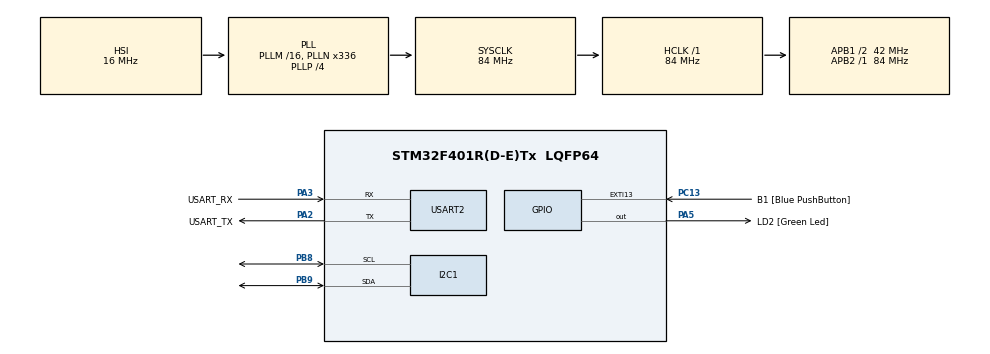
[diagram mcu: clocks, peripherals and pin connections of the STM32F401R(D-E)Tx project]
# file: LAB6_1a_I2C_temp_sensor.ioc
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Dma.Request0=USART2_TX
Dma.USART2_TX.0.Direction=DMA_MEMORY_TO_PERIPH
Dma.USART2_TX.0.FIFOMode=DMA_FIFOMODE_DISABLE
Dma.USART2_TX.0.Instance=DMA1_Stream6
Dma.USART2_TX.0.MemDataAlignment=DMA_MDATAALIGN_BYTE
Dma.USART2_TX.0.MemInc=DMA_MINC_ENABLE
Dma.USART2_TX.0.Mode=DMA_NORMAL
Dma.USART2_TX.0.PeriphDataAlignment=DMA_PDATAALIGN_BYTE
Dma.USART2_TX.0.PeriphInc=DMA_PINC_DISABLE
Dma.USART2_TX.0.Priority=DMA_PRIORITY_LOW
Mcu.Family=STM32F4
Mcu.Name=STM32F401R(D-E)Tx
Mcu.Package=LQFP64
NVIC.DMA1_Stream6_IRQn=true\:0\:0\:false\:false\:true\:false\:true\:true
NVIC.PriorityGroup=NVIC_PRIORITYGROUP_0
NVIC.USART2_IRQn=true\:0\:0\:false\:false\:true\:true\:true\:true
PA13.GPIO_Label=TMS
PA13.Mode=Serial_Wire
PA13.Signal=SYS_JTMS-SWDIO
PA14.GPIO_Label=TCK
PA14.Mode=Serial_Wire
PA14.Signal=SYS_JTCK-SWCLK
PA2.GPIO_Label=USART_TX
PA2.GPIO_Mode=GPIO_MODE_AF_PP
PA2.GPIO_PuPd=GPIO_NOPULL
PA2.GPIO_Speed=GPIO_SPEED_FREQ_LOW
PA2.Mode=Asynchronous
PA2.Signal=USART2_TX
PA3.GPIO_Label=USART_RX
PA3.GPIO_Mode=GPIO_MODE_AF_PP
PA3.GPIO_PuPd=GPIO_NOPULL
PA3.GPIO_Speed=GPIO_SPEED_FREQ_LOW
PA3.Mode=Asynchronous
PA3.Signal=USART2_RX
PA5.GPIO_Label=LD2 [Green Led]
PA5.GPIO_Mode=GPIO_MODE_OUTPUT_PP
PA5.GPIO_PuPd=GPIO_NOPULL
PA5.GPIO_Speed=GPIO_SPEED_FREQ_LOW
PA5.Signal=GPIO_Output
PB3.GPIO_Label=SWO
PB3.Signal=SYS_JTDO-SWO
PB8.Mode=I2C
PB8.Signal=I2C1_SCL
PB9.Mode=I2C
PB9.Signal=I2C1_SDA
PC13-ANTI_TAMP.GPIO_Label=B1 [Blue PushButton]
PC13-ANTI_TAMP.GPIO_ModeDefaultEXTI=GPIO_MODE_IT_FALLING
PC13-ANTI_TAMP.GPIO_PuPd=GPIO_NOPULL
PC13-ANTI_TAMP.Signal=GPXTI13
PC14-OSC32_IN.Mode=LSE-External-Oscillator
PC14-OSC32_IN.Signal=RCC_OSC32_IN
PC15-OSC32_OUT.Mode=LSE-External-Oscillator
PC15-OSC32_OUT.Signal=RCC_OSC32_OUT
PH0\ -\ OSC_IN.Mode=HSE-External-Clock-Source
PH0\ -\ OSC_IN.Signal=RCC_OSC_IN
PH1\ -\ OSC_OUT.Mode=HSE-External-Clock-Source
PH1\ -\ OSC_OUT.Signal=RCC_OSC_OUT
ProjectManager.HeapSize=0x200
ProjectManager.StackSize=0x400
ProjectManager.TargetToolchain=STM32CubeIDE
RCC.48MHZClocksFreq_Value=48000000
RCC.AHBFreq_Value=84000000
RCC.APB1CLKDivider=RCC_HCLK_DIV2
RCC.APB1Freq_Value=42000000
RCC.APB1TimFreq_Value=84000000
RCC.APB2Freq_Value=84000000
RCC.APB2TimFreq_Value=84000000
RCC.CortexFreq_Value=84000000
RCC.HCLKFreq_Value=84000000
RCC.HSE_VALUE=8000000
RCC.HSI_VALUE=16000000
RCC.PLLN=336
RCC.PLLP=RCC_PLLP_DIV4
RCC.PLLQ=7
RCC.SYSCLKFreq_VALUE=84000000
RCC.SYSCLKSource=RCC_SYSCLKSOURCE_PLLCLK
RCC.VCOOutputFreq_Value=336000000
USART2.VirtualMode=VM_ASYNC
board=NUCLEO-F401RE

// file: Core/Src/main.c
/* USER CODE BEGIN Header */
/**
  ******************************************************************************
  * @file           : main.c
  * @brief          : Main program body
  ******************************************************************************
  * @attention
  *
  * Copyright (c) 2024 STMicroelectronics.
  * All rights reserved.
  *
  * This software is licensed under terms that can be found in the LICENSE file
  * in the root directory of this software component.
  * If no LICENSE file comes with this software, it is provided AS-IS.
  *
  ******************************************************************************
  */
/* USER CODE END Header */
#include "main.h"

/* USER CODE BEGIN Includes */
#include <stdio.h>
/* USER CODE END Includes */

/* USER CODE BEGIN PD */
#define NO_DATA 			0
#define ONE_BYTE			1
#define TRANSMIT_DELAY		100
#define SIZE_STRING			100
#define ONE_SECOND			1000
/* USER CODE END PD */

I2C_HandleTypeDef hi2c1;

UART_HandleTypeDef huart2;
DMA_HandleTypeDef hdma_usart2_tx;

void SystemClock_Config(void);
static void MX_GPIO_Init(void);
static void MX_DMA_Init(void);
static void MX_USART2_UART_Init(void);
static void MX_I2C1_Init(void);

int main(void)
{

  /* MCU Configuration--------------------------------------------------------*/

  /* Reset of all peripherals, Initializes the Flash interface and the Systick. */
  HAL_Init();

  /* Configure the system clock */
  SystemClock_Config();

  /* Initialize all configured peripherals */
  MX_GPIO_Init();
  MX_DMA_Init();
  MX_USART2_UART_Init();
  MX_I2C1_Init();
  /* USER CODE BEGIN 2 */

  uint8_t LM75_ADDR = 0b10010000;			// Address left-shifted by one
  uint8_t LM75_TEMP_ADDR = 0x00;			// Address of the pointer register

  // LM75 initialization -> set up pointer register to temperature sensor
  HAL_I2C_Master_Transmit(&hi2c1, LM75_ADDR , &LM75_TEMP_ADDR, ONE_BYTE, TRANSMIT_DELAY);

  /* USER CODE END 2 */

  /* Infinite loop */
  /* USER CODE BEGIN WHILE */
  while (1)
  {
	  uint8_t temperature;
	  int message_length = 0;
	  char message[SIZE_STRING];
	  if(HAL_I2C_Master_Receive(&hi2c1, LM75_ADDR+1, &temperature, ONE_BYTE, TRANSMIT_DELAY) == HAL_OK)
	  {
		  message_length = snprintf(message, SIZE_STRING, "T: %d°C\r\n", temperature);
	  }
	  else
	  {
		  message_length = snprintf(message, SIZE_STRING, "Error reading from LM75\r\n");
	  }
	  HAL_UART_Transmit_DMA(&huart2, (uint8_t *)message, message_length);
	  HAL_Delay(ONE_SECOND);
    /* USER CODE END WHILE */

  }
}

void SystemClock_Config(void)
{
  RCC_OscInitTypeDef RCC_OscInitStruct = {0};
  RCC_ClkInitTypeDef RCC_ClkInitStruct = {0};

  /** Configure the main internal regulator output voltage
  */
  __HAL_RCC_PWR_CLK_ENABLE();
  __HAL_PWR_VOLTAGESCALING_CONFIG(PWR_REGULATOR_VOLTAGE_SCALE2);

  /** Initializes the RCC Oscillators according to the specified parameters
  * in the RCC_OscInitTypeDef structure.
  */
  RCC_OscInitStruct.OscillatorType = RCC_OSCILLATORTYPE_HSI;
  RCC_OscInitStruct.HSIState = RCC_HSI_ON;
  RCC_OscInitStruct.HSICalibrationValue = RCC_HSICALIBRATION_DEFAULT;
  RCC_OscInitStruct.PLL.PLLState = RCC_PLL_ON;
  RCC_OscInitStruct.PLL.PLLSource = RCC_PLLSOURCE_HSI;
  RCC_OscInitStruct.PLL.PLLM = 16;
  RCC_OscInitStruct.PLL.PLLN = 336;
  RCC_OscInitStruct.PLL.PLLP = RCC_PLLP_DIV4;
  RCC_OscInitStruct.PLL.PLLQ = 7;
  if (HAL_RCC_OscConfig(&RCC_OscInitStruct) != HAL_OK)
  {
    Error_Handler();
  }

  /** Initializes the CPU, AHB and APB buses clocks
  */
  RCC_ClkInitStruct.ClockType = RCC_CLOCKTYPE_HCLK|RCC_CLOCKTYPE_SYSCLK
                              |RCC_CLOCKTYPE_PCLK1|RCC_CLOCKTYPE_PCLK2;
  RCC_ClkInitStruct.SYSCLKSource = RCC_SYSCLKSOURCE_PLLCLK;
  RCC_ClkInitStruct.AHBCLKDivider = RCC_SYSCLK_DIV1;
  RCC_ClkInitStruct.APB1CLKDivider = RCC_HCLK_DIV2;
  RCC_ClkInitStruct.APB2CLKDivider = RCC_HCLK_DIV1;

  if (HAL_RCC_ClockConfig(&RCC_ClkInitStruct, FLASH_LATENCY_2) != HAL_OK)
  {
    Error_Handler();
  }
}

static void MX_I2C1_Init(void)
{

  hi2c1.Instance = I2C1;
  hi2c1.Init.ClockSpeed = 100000;
  hi2c1.Init.DutyCycle = I2C_DUTYCYCLE_2;
  hi2c1.Init.OwnAddress1 = 0;
  hi2c1.Init.AddressingMode = I2C_ADDRESSINGMODE_7BIT;
  hi2c1.Init.DualAddressMode = I2C_DUALADDRESS_DISABLE;
  hi2c1.Init.OwnAddress2 = 0;
  hi2c1.Init.GeneralCallMode = I2C_GENERALCALL_DISABLE;
  hi2c1.Init.NoStretchMode = I2C_NOSTRETCH_DISABLE;
  if (HAL_I2C_Init(&hi2c1) != HAL_OK)
  {
    Error_Handler();
  }

}

static void MX_USART2_UART_Init(void)
{

  huart2.Instance = USART2;
  huart2.Init.BaudRate = 115200;
  huart2.Init.WordLength = UART_WORDLENGTH_8B;
  huart2.Init.StopBits = UART_STOPBITS_1;
  huart2.Init.Parity = UART_PARITY_NONE;
  huart2.Init.Mode = UART_MODE_TX_RX;
  huart2.Init.HwFlowCtl = UART_HWCONTROL_NONE;
  huart2.Init.OverSampling = UART_OVERSAMPLING_16;
  if (HAL_UART_Init(&huart2) != HAL_OK)
  {
    Error_Handler();
  }

}

static void MX_DMA_Init(void)
{

  /* DMA controller clock enable */
  __HAL_RCC_DMA1_CLK_ENABLE();

  /* DMA interrupt init */
  /* DMA1_Stream6_IRQn interrupt configuration */
  HAL_NVIC_SetPriority(DMA1_Stream6_IRQn, 0, 0);
  HAL_NVIC_EnableIRQ(DMA1_Stream6_IRQn);

}

static void MX_GPIO_Init(void)
{
  GPIO_InitTypeDef GPIO_InitStruct = {0};

  /* GPIO Ports Clock Enable */
  __HAL_RCC_GPIOC_CLK_ENABLE();
  __HAL_RCC_GPIOH_CLK_ENABLE();
  __HAL_RCC_GPIOA_CLK_ENABLE();
  __HAL_RCC_GPIOB_CLK_ENABLE();

  /*Configure GPIO pin Output Level */
  HAL_GPIO_WritePin(LD2_GPIO_Port, LD2_Pin, GPIO_PIN_RESET);

  /*Configure GPIO pin : B1_Pin */
  GPIO_InitStruct.Pin = B1_Pin;
  GPIO_InitStruct.Mode = GPIO_MODE_IT_FALLING;
  GPIO_InitStruct.Pull = GPIO_NOPULL;
  HAL_GPIO_Init(B1_GPIO_Port, &GPIO_InitStruct);

  /*Configure GPIO pin : LD2_Pin */
  GPIO_InitStruct.Pin = LD2_Pin;
  GPIO_InitStruct.Mode = GPIO_MODE_OUTPUT_PP;
  GPIO_InitStruct.Pull = GPIO_NOPULL;
  GPIO_InitStruct.Speed = GPIO_SPEED_FREQ_LOW;
  HAL_GPIO_Init(LD2_GPIO_Port, &GPIO_InitStruct);

}

void Error_Handler(void)
{
  __disable_irq();
  while (1)
  {
  }
}
